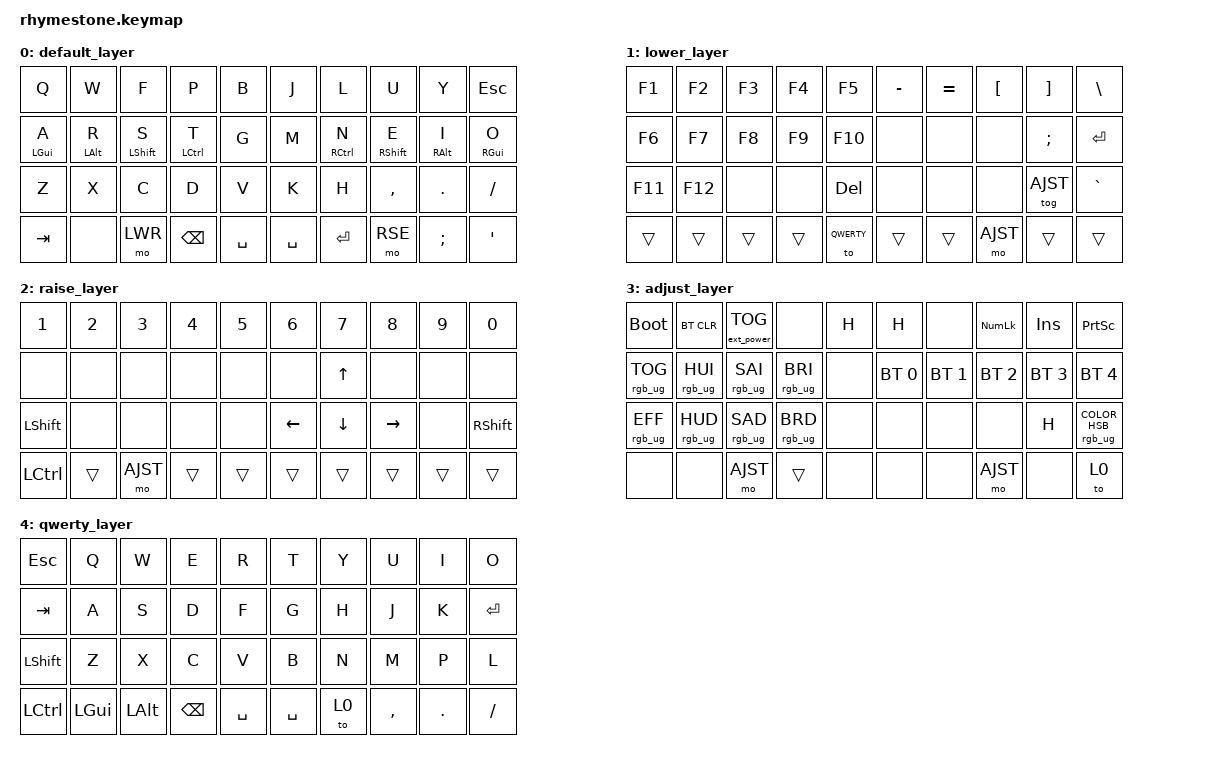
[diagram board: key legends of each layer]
#define DFT 0
#define LWR 1
#define RSE 2
#define AJST 3
#define QWERTY 4

#include <behaviors.dtsi>
#include <dt-bindings/zmk/keys.h>
#include <dt-bindings/zmk/bt.h>
#include <dt-bindings/zmk/rgb.h>
#include <dt-bindings/zmk/ext_power.h>



/ {

        behaviors {
                hm: homerow_mods {
                        compatible = "zmk,behavior-hold-tap";
                        label = "HOMEROW_MODS";
                        #binding-cells = <2>;
                        tapping-term-ms = <150>;
                        quick_tap_ms = <0>;
                        flavor = "tap-preferred";
                        bindings = <&kp>, <&kp>;
                };
        };
        keymap {
                compatible = "zmk,keymap";
                default_layer {
// -------------------------------------------------------------------------------------
// |   Q   |   W   |   F   |   P   |   B   |   |   J   |   L   |   U   |   Y   |   '   |
// |   A   |   R   |   S   |   T   |   G   |   |   M   |   N   |   E   |   I   |   O   |
// |   Z   |   X   |   C   |   D   |   V   |   |   K   |   H   |   ,   |   .   |   /   |
// |  TAB  |       | LOWER |       |  BKSP |   | SPACE | ENTER | RAISE |       |  ESC  |
                        bindings = <
&kp Q       &kp W      &kp F        &kp P        &kp B       &kp J     &kp L       &kp U        &kp Y      &kp ESC   
&hm LGUI A  &hm LALT R &hm LSHIFT S &hm LCTRL T  &kp G       &kp M     &hm RCTRL N &hm RSHIFT E &hm RALT I &hm RGUI O
&kp Z       &kp X      &kp C        &kp D        &kp V       &kp K     &kp H       &kp COMMA    &kp DOT    &kp FSLH
&kp TAB     &none      &mo LWR      &kp BSPC     &kp SPACE   &kp SPACE &kp RET     &mo RSE      &kp SEMI   &kp APOS
                        >;
                };
                lower_layer {
// -----------------------------------------------------------------------------------------
// | F1  | F2  | F3  | F4  | F5  |   | MIN | EQL |  [  |  ]  |  \  |
// | F6  | F7  | F8  | F9  | F10 |   |     |     |     |  ;  |QUOTE| 
// | F11 | F12 |     |     | DEL |   |     |     |     |     |GRAVE|
// |     |     |LOWER|     |     |   |     |     | AJST|     |     |   
                        bindings = <
   &kp F1   &kp F2    &kp F3    &kp F4  &kp F5        &kp MINUS &kp EQUAL &kp LBKT  &kp RBKT   &kp BSLH    
   &kp F6   &kp F7    &kp F8    &kp F9  &kp F10       &none     &none     &none     &kp SEMI   &kp ENTER 
   &kp F11  &kp F12   &none     &none   &kp DEL       &none     &none     &none     &tog AJST  &kp GRAVE 
   &trans   &trans    &trans    &trans  &to QWERTY    &trans    &trans    &mo AJST  &trans     &trans 
                        >;
                };      
                raise_layer {
// -----------------------------------------------------------------------------------------
// |  1  |  2  |  3  |  4  |  5  |   |  6  |  7  |  8  |  9  |  0  |
// |     |     |     |     |     |   |     |  UP |     |     |     |
// |SHIFT|     |     |     |     |   | LFT | DWN | RGT |     |SHIFT|
// | CTRL|     | AJST|     |     |   |     |     |     |     |     |
                        bindings = <
&kp N1     &kp N2       &kp N3       &kp N4       &kp N5            &kp N6    &kp N7     &kp N8     &kp N9    &kp N0 
&none      &none        &none        &none        &none             &none     &kp UP     &none      &none     &none 
&kp LSHIFT &none        &none        &none        &none             &kp LEFT  &kp DOWN   &kp RIGHT  &none     &kp RSHIFT          
&kp LCTRL  &trans       &mo AJST     &trans       &trans            &trans    &trans     &trans     &trans    &trans 
                        >;
                };
                adjust_layer {
// -----------------------------------------------------------------------------------------
// |RESET| BT CLR | EP TOG  |         |     |   |       |       | NUMLOCK | INSERT | PRTSCRN |   
// |RGBTO|  HUE+  |   SAT+  |   VAL+  |     |   | BT 0  | BT 1  |  BT 2   |  BT 3  | BT 4    |
// |RGBMO|  HUE-  |   SAT-  |   VAL-  |     |   |       |       |         |        |         |
// |     |        |         |         |     |   |       |       |         |        |         |    
                        bindings = <
 &bootloader     &bt BT_CLR      &ext_power EP_TOG  &none            &kp H       &kp H        &none        &kp KP_NUM   &kp INSERT   &kp PRINTSCREEN
 &rgb_ug RGB_TOG &rgb_ug RGB_HUI &rgb_ug RGB_SAI    &rgb_ug RGB_BRI  &none       &bt BT_SEL 0 &bt BT_SEL 1 &bt BT_SEL 2 &bt BT_SEL 3 &bt BT_SEL 4
 &rgb_ug RGB_EFF &rgb_ug RGB_HUD &rgb_ug RGB_SAD    &rgb_ug RGB_BRD  &none       &none        &none        &none        &kp H        &rgb_ug RGB_COLOR_HSB(128,100,100)       
 &none           &none           &mo AJST           &trans           &none       &none        &none        &mo AJST      &none        &to 0
                        >;
                };
                qwerty_layer {
// -------------------------------------------------------------------------------------
// |   Q   |   W   |   E   |   R   |   T   |   |   Y   |   U   |   I   |   O   |   P   |
// |   A   |   S   |   D   |   F   |   G   |   |   H   |   J   |   K   |   L   | ENTER |
// | SFT Z |   X   |   C   |   V   |   B   |   |   N   |   M   |   ,   |   .   | SFT / |
// | LCTRL |  LALT |  LGUI | LOWER |  BKSP |   | SPACE | RAISE |  RGUI |  APP  | RCTRL |
                        bindings = <
   &kp ESC      &kp Q        &kp W    &kp E    &kp R     &kp T      &kp Y     &kp U     &kp I     &kp O         
   &kp TAB      &kp A        &kp S    &kp D    &kp F     &kp G      &kp H     &kp J     &kp K     &kp ENTER 
   &kp LSHIFT   &kp Z        &kp X    &kp C    &kp V     &kp B      &kp N     &kp M     &kp P     &kp L  
   &kp LCTRL    &kp LGUI     &kp LALT &kp BSPC &kp SPACE &kp SPACE  &to 0     &kp COMMA &kp DOT   &kp SLASH
                        >;
                };
        };
};
